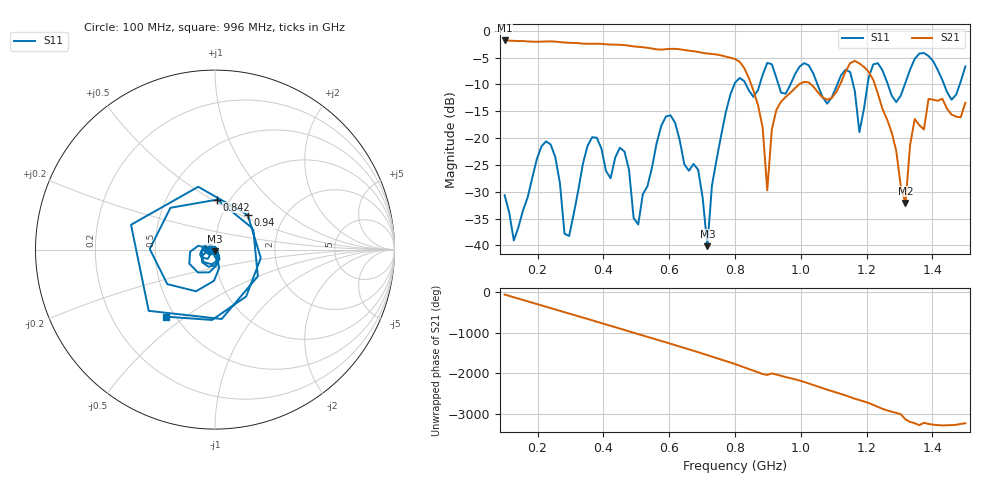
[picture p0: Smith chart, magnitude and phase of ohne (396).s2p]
! NanoVNA-App
! Date: 2025-09-25 14:23:52
! Start: 100MHz Stop: 1,5GHz Points: 101
! S-Parameter data: F S11 S21 S12 S22
# Hz S RI R 50
!  Frequency  S11_Real  S11_Imag  S21_Real  S21_Imag  S12_Real  S12_Imag  S22_Real  S22_Imag
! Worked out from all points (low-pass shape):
!   101 points, 100 MHz to 1.5 GHz, reference 50 ohm
!   highest |S21| = -1.79 dB at 100 MHz (marker M1); lowest = -32.1 dB at 1.318 GHz (marker M2)
!   |S21| within 3 dB of the highest: start of sweep to 771.3 MHz
!   lowest |S11| = -40.1 dB at 716 MHz (marker M3), VSWR 1.02, Z = 49.8 - j0.965 ohm
!   |S11| at or under -10 dB: start of sweep to 798 MHz; 833.2 MHz to 875.1 MHz (41.9 MHz wide, 4.91 % of centre); 1.051 GHz to 1.111 GHz (60.06 MHz wide, 5.56 % of centre) (the widest 3 of 7)
!   S12 and S22 are empty: the file has one direction only
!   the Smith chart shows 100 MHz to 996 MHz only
!   S11 on the Smith chart (normalised r, x): 100 MHz: 0.94, -0.01; 842 MHz: 0.88, +0.53; 940 MHz: 1.32, +0.55; 996 MHz: 0.45, -0.42
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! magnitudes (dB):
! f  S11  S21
! 100 MHz  -30.6  -1.8
! 128 MHz  -39.1  -1.9
! 226 MHz  -20.6  -2.0
! 296 MHz  -38.3  -2.2
! 338 MHz  -24.8  -2.4
! 464 MHz  -22.5  -2.7
! 506 MHz  -36.1  -3.0
! 576 MHz  -17.7  -3.5
! 688 MHz  -25.9  -3.9
! 716 MHz  -40.1  -4.2
! 800 MHz  -9.7  -5.3
! 842 MHz  -11.1  -8.8
! 898 MHz  -6.0  -29.7
! 940 MHz  -11.5  -13.2
! 996 MHz  -6.7  -9.9
! 1.038 GHz  -8.0  -10.4
! 1.178 GHz  -18.9  -6.1
! 1.22 GHz  -6.3  -9.1
! 1.276 GHz  -12.1  -18.9
! 1.318 GHz  -9.6  -32.1
! 1.346 GHz  -5.2  -16.4
! 1.5 GHz  -6.6  -13.4
